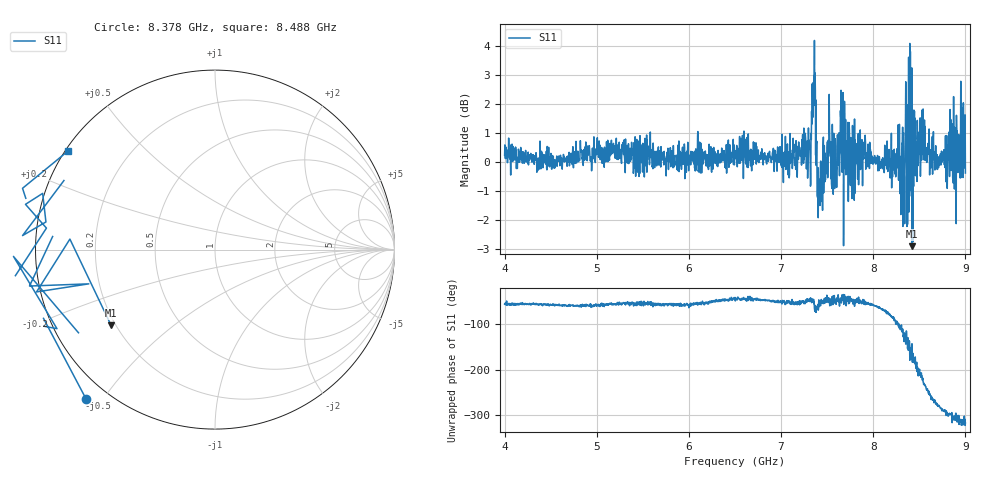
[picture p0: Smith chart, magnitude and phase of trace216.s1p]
! Created with skrf 1.8.0 (http://scikit-rf.org).
# Hz S RI R 50.0
!freq ReS11 ImS11
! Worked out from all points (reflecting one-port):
!   1601 points, 4 GHz to 9 GHz, reference 50 ohm
!   lowest |S11| = -2.9 dB at 8.422 GHz (marker M1), VSWR 6.05, Z = 9.12 - j15.8 ohm
!   phase of S11 starts at -57 deg and turns -260 deg over the sweep
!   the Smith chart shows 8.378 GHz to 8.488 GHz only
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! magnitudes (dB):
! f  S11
! 4 GHz  0.2
! 4.625 GHz  -0.3
! 5.25 GHz  0.1
! 5.875 GHz  -0.1
! 6.5 GHz  0.1
! 7.125 GHz  -0.1
! 7.297 GHz  1.2
! 7.353 GHz  1.9
! 7.366 GHz  1.9
! 7.4 GHz  -0.2
! 7.416 GHz  -1.0
! 7.512 GHz  0.7
! 7.591 GHz  0.5
! 7.65 GHz  2.5
! 7.75 GHz  -0.5
! 8.259 GHz  0.5
! 8.316 GHz  0.6
! 8.334 GHz  -0.3
! 8.375 GHz  0.0
! 8.394 GHz  -1.2
! 8.412 GHz  1.0
! 8.422 GHz  -2.9
! 8.447 GHz  1.7
! 8.459 GHz  -0.5
! 8.522 GHz  1.0
! 8.781 GHz  -0.1
! 8.972 GHz  0.2
! 9 GHz  -0.4
